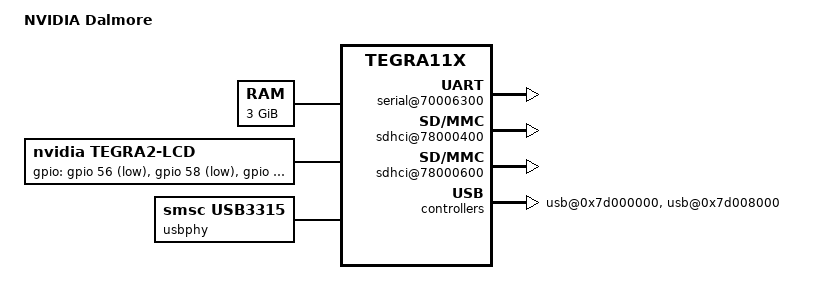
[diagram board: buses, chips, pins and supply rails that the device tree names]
/dts-v1/;

/memreserve/ 0x1c000000 0x04000000;
/include/ "tegra11x.dtsi"
/include/ "chromeos.dtsi"
/include/ "flashmap-twostop-1mb.dtsi"

/ {
	model = "NVIDIA Dalmore";
	compatible = "nvidia,dalmore", "nvidia,tegra11x";

	config {
		silent_console = <0>;
		odmdata = <0x300d8011>;
		hwid = "ARM DALMORE TEST 6666";
	};

	aliases {
		console = "/serial@70006300";
                usb0 = "/usb@0x7d008000";
                usb1 = "/usb@0x7d000000";

		sdmmc0 = "/sdhci@78000600";
		sdmmc1 = "/sdhci@78000400";
	};

	chosen {
		bootargs = "";
	};

	memory {
		device_type = "memory";
		reg = <0x80000000 0xc0000000>;
	};

	serial@70006300 {
		status = "ok";
		/*
		 * TBD - use CONFIG_SYS_PLLP_BASE_IS_408MHZ somehow here.
		 * Currently I put this back to 216MHz in fdt_decode.c
		 */
		clock-frequency = <408000000>;
	};

	sdhci@78000400 {
		status = "ok";
		width = <4>;	/* width of SDIO port */
		removable = <1>;
		/* Parameter 3 bit 0:1=output, 0=input; bit 1:1=high, 0=low */
		cd-gpio = <&gpio 170 0>; /* card detect, gpio PV2(SDMMC3_CD_N)*/
		wp-gpio = <&gpio 132 0>; /* write protect, gpio PQ4(KB_COL4) */

		/*
		 * Dalmore board no longer uses gpio pin to enable power supply.
		 * Instead, it needs directly programming PMICs.
		 *
		 * 1. Provide power 3.3v for SDMMC3 controller:
		 *		LDO9_OUT -> VDDIO_SDMMC3_AP (65913)
		 * 2. Provide power 3.3v for SD card:
		 *		FET6/VOUT6 -> VDD_3V3_SD (65090)
		 */
	};

	sdhci@78000600 {
		status = "ok";
		width = <4>;	/* width of SDIO port */
		removable = <0>;
	};

	lcd {
		compatible = "nvidia,tegra2-lcd";
		width = <1366>;
		height = <768>;
		bits_per_pixel = <16>;
		pwfm = <&pwfm0>;
		display = <&display1>;
		frame-buffer = <0x1C022000>;

		pixel_clock = <68000000>;

		/* Timing: ref_to_sync, sync_width. back_porch, front_porch */
		horiz_timing = <0 30 52 64>;
		vert_timing = <12 5 20 25>;

		/* Parameter 3 bit 0:1=output, 0=input; bit 1:1=high, 0=low */
		gpios = <&gpio 56 3>,	/* PH0, LCD1_BL_PWM */
			<&gpio 58 3>,	/* PH2, LCD1_BL_EN */
			<&gpio 90 3>,	/* PL2, LVDS1_SHTDN */
			<&gpio 92 3>;	/* PL4, EN_VDD_PNL1 */
	};

	usb@0x7d000000 {
		status = "ok";
		host-mode = <1>;
		/* USB_VBUS_EN0:0:B: USB_VBUS_EN0 */
	};

	usbphy: usbphy@0 {
		compatible = "smsc,usb3315";
		status = "ok";
	};

	usb@0x7d008000 {
		status = "ok";
		utmi = <&usbphy>;
		host-mode = <0>;
		vbus-gpio = <&gpio 86 0>;       /* SPDIF_IN:1:B: USB_VBUS_EN1 */
	};
};
